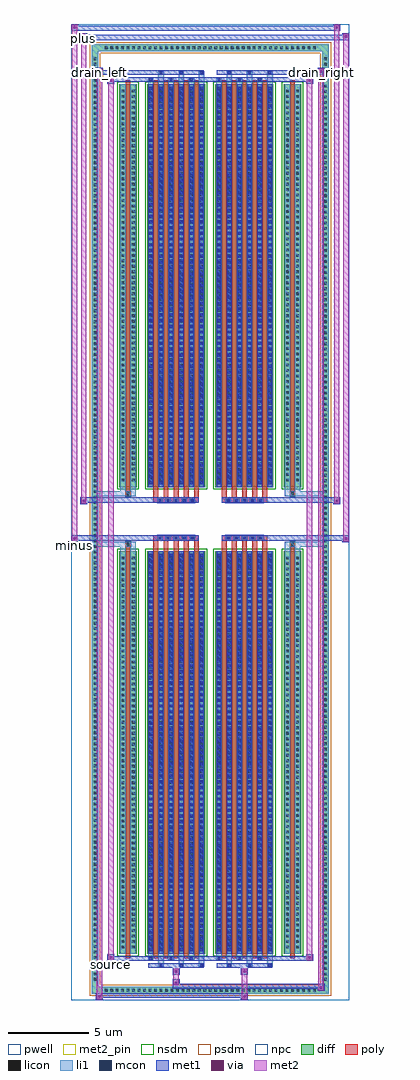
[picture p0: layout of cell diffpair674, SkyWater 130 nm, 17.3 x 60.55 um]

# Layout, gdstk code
import gdstk
lib = gdstk.Library(unit=1e-6, precision=5e-09)
def R(c, l, rs):  # rectangles x0, y0, x1, y1
    for r in rs: c.add(gdstk.rectangle(r[:2], r[2:], *l))
def A(c, l, x, y, w, h, nx, ny, dx, dy):  # array of equal rectangles
    R(c, l, [(x+i*dx, y+j*dy, x+i*dx+w, y+j*dy+h) for i in range(nx) for j in range(ny)])
def P(c, l, *ps):  # polygons
    for p in ps: c.add(gdstk.Polygon(p, *l))
pwell = (64, 44)
diff = (65, 20)
poly = (66, 20)
licon = (66, 44)
li1 = (67, 20)
mcon = (67, 44)
met1 = (68, 20)
via = (68, 44)
met2_pin = (69, 16)
met2 = (69, 20)
nsdm = (93, 44)
psdm = (94, 20)
npc = (95, 20)

diffpair674 = lib.new_cell('diffpair674')
R(diffpair674, pwell, [(-8.63,-29.84,8.63,30.71), (-5.95,-28.03,-0.01,-0.805), (0.01,-28.03,5.95,-0.805), (-5.95,0.805,-0.01,28.03), (0.01,0.805,5.95,28.03)])
A(diffpair674, diff, -6.665, -29.44, 0.41, 0.41, 39, 2, 0.34, 58.47)
A(diffpair674, diff, -7.36, -28.765, 0.41, 0.41, 1, 169, 0, 0.34)
A(diffpair674, diff, 6.95, -28.765, 0.41, 0.41, 1, 169, 0, 0.34)
R(diffpair674, diff, [(-6.665,-29.44,6.665,-29.03), (-7.36,-28.765,-6.95,28.765), (6.95,-28.765,7.36,28.765), (-5.64,-26.985,-4.56,-1.985), (-3.92,-26.985,-0.32,-1.985), (0.32,-26.985,3.92,-1.985), (4.56,-26.985,5.64,-1.985), (-5.64,1.985,-4.56,26.985), (-3.92,1.985,-0.32,26.985), (0.32,1.985,3.92,26.985), (4.56,1.985,5.64,26.985), (-6.665,29.03,6.665,29.44)])
P(diffpair674, diff, [(7.36,29.44),(-7.36,29.44),(-7.36,-29.03),(-6.95,-29.03),(-6.95,29.03),(6.95,29.03),(6.95,-29.03),(-6.95,-29.03),(-7.36,-29.03),(-7.36,-29.44),(7.36,-29.44)])
A(diffpair674, poly, -3.53, -27.235, 0.3, 25.5, 5, 2, 0.63, 28.97)
A(diffpair674, poly, 0.71, -27.235, 0.3, 25.5, 5, 2, 0.63, 28.97)
A(diffpair674, poly, -3.53, -1.735, 0.3, 0.4, 5, 2, 0.63, 3.07)
A(diffpair674, poly, 0.71, -1.735, 0.3, 0.4, 5, 2, 0.63, 3.07)
A(diffpair674, poly, -3.285, -1.335, 0.33, 0.33, 5, 2, 0.5, 2.34)
A(diffpair674, poly, 0.955, -1.335, 0.33, 0.33, 5, 2, 0.5, 2.34)
R(diffpair674, poly, [(-5.25,-27.235,-4.95,-1.735), (4.95,-27.235,5.25,-1.735), (-5.265,-1.735,-4.935,-1.405), (-5.265,-1.735,-4.935,-1.405), (4.935,-1.735,5.265,-1.405), (4.935,-1.735,5.265,-1.405), (-3.53,-1.335,-0.71,-1.005), (0.71,-1.335,3.53,-1.005), (-3.53,1.005,-0.71,1.335), (0.71,1.005,3.53,1.335), (-5.265,1.405,-4.935,1.735), (-5.265,1.405,-4.935,1.735), (4.935,1.405,5.265,1.735), (4.935,1.405,5.265,1.735), (-5.25,1.735,-4.95,27.235), (4.95,1.735,5.25,27.235)])
A(diffpair674, licon, -6.545, -29.32, 0.17, 0.17, 39, 2, 0.34, 58.47)
A(diffpair674, licon, -7.24, -28.645, 0.17, 0.17, 1, 169, 0, 0.34)
A(diffpair674, licon, 7.07, -28.645, 0.17, 0.17, 1, 169, 0, 0.34)
A(diffpair674, licon, -5.5, -26.64, 0.17, 0.17, 1, 72, 0, 0.34)
A(diffpair674, licon, -4.87, -26.64, 0.17, 0.17, 1, 72, 0, 0.34)
A(diffpair674, licon, -3.78, -26.64, 0.17, 0.17, 6, 72, 0.63, 0.34)
A(diffpair674, licon, 0.46, -26.64, 0.17, 0.17, 6, 72, 0.63, 0.34)
A(diffpair674, licon, 4.7, -26.64, 0.17, 0.17, 1, 72, 0, 0.34)
A(diffpair674, licon, 5.33, -26.64, 0.17, 0.17, 1, 72, 0, 0.34)
A(diffpair674, licon, -3.205, -1.255, 0.17, 0.17, 5, 2, 0.5, 2.34)
A(diffpair674, licon, 1.035, -1.255, 0.17, 0.17, 5, 2, 0.5, 2.34)
A(diffpair674, licon, -5.5, 2.33, 0.17, 0.17, 1, 72, 0, 0.34)
A(diffpair674, licon, -4.87, 2.33, 0.17, 0.17, 1, 72, 0, 0.34)
A(diffpair674, licon, -3.78, 2.33, 0.17, 0.17, 6, 72, 0.63, 0.34)
A(diffpair674, licon, 0.46, 2.33, 0.17, 0.17, 6, 72, 0.63, 0.34)
A(diffpair674, licon, 4.7, 2.33, 0.17, 0.17, 1, 72, 0, 0.34)
A(diffpair674, licon, 5.33, 2.33, 0.17, 0.17, 1, 72, 0, 0.34)
R(diffpair674, licon, [(-5.185,-1.655,-5.015,-1.485), (5.015,-1.655,5.185,-1.485), (-5.185,1.485,-5.015,1.655), (5.015,1.485,5.185,1.655)])
A(diffpair674, li1, -6.625, -29.4, 0.33, 0.33, 39, 2, 0.34, 58.47)
A(diffpair674, li1, -7.32, -28.725, 0.33, 0.33, 1, 169, 0, 0.34)
A(diffpair674, li1, 6.99, -28.725, 0.33, 0.33, 1, 169, 0, 0.34)
A(diffpair674, li1, -3.23, -27.79, 0.33, 0.805, 3, 2, 1.26, 54.775)
A(diffpair674, li1, -3.15, -27.79, 0.17, 0.17, 3, 2, 1.26, 55.41)
A(diffpair674, li1, 1.01, -27.79, 0.33, 0.805, 3, 2, 1.26, 54.775)
A(diffpair674, li1, 1.09, -27.79, 0.17, 0.17, 3, 2, 1.26, 55.41)
A(diffpair674, li1, -3.86, -27.36, 0.33, 0.375, 3, 2, 1.26, 54.345)
A(diffpair674, li1, -3.78, -27.36, 0.17, 0.17, 3, 2, 1.26, 54.55)
A(diffpair674, li1, 0.38, -27.36, 0.33, 0.375, 3, 2, 1.26, 54.345)
A(diffpair674, li1, 0.46, -27.36, 0.17, 0.17, 3, 2, 1.26, 54.55)
A(diffpair674, li1, -3.86, -26.985, 0.33, 25, 6, 2, 0.63, 28.97)
A(diffpair674, li1, 0.38, -26.985, 0.33, 25, 6, 2, 0.63, 28.97)
A(diffpair674, li1, -3.78, -26.81, 0.17, 0.17, 6, 69, 0.63, 0.36)
A(diffpair674, li1, -3.78, -26.81, 0.17, 24.65, 6, 2, 0.63, 28.97)
A(diffpair674, li1, 0.46, -26.81, 0.17, 0.17, 6, 69, 0.63, 0.36)
A(diffpair674, li1, 0.46, -26.81, 0.17, 24.65, 6, 2, 0.63, 28.97)
A(diffpair674, li1, -5.58, -26.72, 0.33, 0.33, 1, 72, 0, 0.34)
A(diffpair674, li1, -4.95, -26.72, 0.33, 0.33, 1, 72, 0, 0.34)
A(diffpair674, li1, -3.86, -26.72, 0.33, 0.33, 6, 72, 0.63, 0.34)
A(diffpair674, li1, 0.38, -26.72, 0.33, 0.33, 6, 72, 0.63, 0.34)
A(diffpair674, li1, 4.62, -26.72, 0.33, 0.33, 1, 72, 0, 0.34)
A(diffpair674, li1, 5.25, -26.72, 0.33, 0.33, 1, 72, 0, 0.34)
A(diffpair674, li1, -3.285, -1.335, 0.33, 0.33, 5, 2, 0.5, 2.34)
A(diffpair674, li1, 0.955, -1.335, 0.33, 0.33, 5, 2, 0.5, 2.34)
A(diffpair674, li1, -3.78, 2.16, 0.17, 0.17, 6, 69, 0.63, 0.36)
A(diffpair674, li1, 0.46, 2.16, 0.17, 0.17, 6, 69, 0.63, 0.36)
A(diffpair674, li1, -5.58, 2.25, 0.33, 0.33, 1, 72, 0, 0.34)
A(diffpair674, li1, -4.95, 2.25, 0.33, 0.33, 1, 72, 0, 0.34)
A(diffpair674, li1, -3.86, 2.25, 0.33, 0.33, 6, 72, 0.63, 0.34)
A(diffpair674, li1, 0.38, 2.25, 0.33, 0.33, 6, 72, 0.63, 0.34)
A(diffpair674, li1, 4.62, 2.25, 0.33, 0.33, 1, 72, 0, 0.34)
A(diffpair674, li1, 5.25, 2.25, 0.33, 0.33, 1, 72, 0, 0.34)
R(diffpair674, li1, [(-7.36,-29.44,-6.95,-29.03), (-7.36,-29.44,-6.95,-29.03), (-6.95,-29.44,6.95,-29.03), (6.95,-29.44,7.36,-29.03), (6.95,-29.44,7.36,-29.03), (-7.36,-29.03,-6.95,29.03), (6.95,-29.03,7.36,29.03), (-5.58,-26.985,-5.25,-1.985), (-4.95,-26.985,-4.62,-1.985), (4.62,-26.985,4.95,-1.985), (5.25,-26.985,5.58,-1.985), (-5.58,-1.985,-5.25,-1.405), (-4.95,-1.985,-4.62,-1.405), (4.62,-1.985,4.95,-1.405), (5.25,-1.985,5.58,-1.405), (-7.36,-1.735,-5.265,-1.405), (-5.58,-1.735,-5.265,-1.405), (-5.265,-1.735,-4.935,-1.405), (-4.935,-1.735,-4.62,-1.405), (4.62,-1.735,4.935,-1.405), (4.935,-1.735,5.265,-1.405), (4.935,-1.735,7.36,-1.405), (5.265,-1.735,5.58,-1.405), (-7.36,1.405,-5.265,1.735), (-5.58,1.405,-5.265,1.735), (-5.58,1.405,-5.25,1.985), (-5.265,1.405,-4.935,1.735), (-4.95,1.405,-4.62,1.985), (-4.935,1.405,-4.62,1.735), (4.62,1.405,4.935,1.735), (4.62,1.405,4.95,1.985), (4.935,1.405,5.265,1.735), (4.935,1.405,7.36,1.735), (5.25,1.405,5.58,1.985), (5.265,1.405,5.58,1.735), (-5.58,1.985,-5.25,26.985), (-4.95,1.985,-4.62,26.985), (4.62,1.985,4.95,26.985), (5.25,1.985,5.58,26.985), (-7.36,29.03,-6.95,29.44), (-7.36,29.03,-6.95,29.44), (-6.95,29.03,6.95,29.44), (6.95,29.03,7.36,29.44), (6.95,29.03,7.36,29.44)])
A(diffpair674, mcon, -3.15, -27.79, 0.17, 0.17, 3, 2, 1.26, 55.41)
A(diffpair674, mcon, 1.09, -27.79, 0.17, 0.17, 3, 2, 1.26, 55.41)
A(diffpair674, mcon, -3.78, -27.36, 0.17, 0.17, 3, 2, 1.26, 54.55)
A(diffpair674, mcon, 0.46, -27.36, 0.17, 0.17, 3, 2, 1.26, 54.55)
A(diffpair674, mcon, -3.78, -26.81, 0.17, 0.17, 6, 69, 0.63, 0.36)
A(diffpair674, mcon, 0.46, -26.81, 0.17, 0.17, 6, 69, 0.63, 0.36)
A(diffpair674, mcon, -3.205, -1.255, 0.17, 0.17, 5, 2, 0.5, 2.34)
A(diffpair674, mcon, 1.035, -1.255, 0.17, 0.17, 5, 2, 0.5, 2.34)
A(diffpair674, mcon, -3.78, 2.16, 0.17, 0.17, 6, 69, 0.63, 0.36)
A(diffpair674, mcon, 0.46, 2.16, 0.17, 0.17, 6, 69, 0.63, 0.36)
A(diffpair674, met1, -3.21, -27.85, 0.29, 0.29, 3, 2, 1.26, 55.41)
A(diffpair674, met1, 1.03, -27.85, 0.29, 0.29, 3, 2, 1.26, 55.41)
A(diffpair674, met1, -3.84, -27.42, 0.29, 0.29, 3, 2, 1.26, 54.55)
A(diffpair674, met1, 0.4, -27.42, 0.29, 0.29, 3, 2, 1.26, 54.55)
A(diffpair674, met1, -3.84, -26.985, 0.29, 25, 6, 2, 0.63, 28.97)
A(diffpair674, met1, 0.4, -26.985, 0.29, 25, 6, 2, 0.63, 28.97)
A(diffpair674, met1, -3.84, -26.87, 0.29, 0.29, 6, 69, 0.63, 0.36)
A(diffpair674, met1, 0.4, -26.87, 0.29, 0.29, 6, 69, 0.63, 0.36)
A(diffpair674, met1, -3.265, -1.315, 0.29, 0.29, 5, 2, 0.5, 2.34)
A(diffpair674, met1, 0.975, -1.315, 0.29, 0.29, 5, 2, 0.5, 2.34)
A(diffpair674, met1, -3.84, 2.1, 0.29, 0.29, 6, 69, 0.63, 0.36)
A(diffpair674, met1, 0.4, 2.1, 0.29, 0.29, 6, 69, 0.63, 0.36)
R(diffpair674, met1, [(-7.09,-29.84,-6.66,-29.41), (1.905,-29.84,2.335,-29.41), (-7.09,-29.7,2.335,-29.41), (6.66,-29.27,7.09,-28.84), (-2.335,-29.13,7.09,-28.84), (-2.335,-28.99,-1.905,-28.56), (-2.335,-28.28,-1.905,-27.85), (1.905,-28.28,2.335,-27.85), (-3.84,-27.85,-0.4,-27.56), (0.4,-27.85,3.84,-27.56), (-6.38,-27.42,-5.95,-26.99), (-6.38,-27.42,-3.84,-27.13), (-3.84,-27.42,-0.4,-27.13), (-0.4,-27.42,0.4,-27.13), (0.4,-27.42,3.84,-27.13), (3.84,-27.42,6.38,-27.13), (5.95,-27.42,6.38,-26.99), (-8.63,-1.435,-8.2,-1.005), (8.2,-1.435,8.63,-1.005), (-8.63,-1.335,-0.71,-1.005), (-3.53,-1.335,-0.71,-1.005), (0.71,-1.335,3.53,-1.005), (0.71,-1.335,8.63,-1.005), (-8.06,0.905,-7.63,1.335), (7.63,0.905,8.06,1.335), (-8.06,1.005,-3.53,1.335), (-3.53,1.005,-0.71,1.335), (0.71,1.005,3.53,1.335), (3.53,1.005,8.06,1.335), (-6.38,26.99,-5.95,27.42), (5.95,26.99,6.38,27.42), (-6.38,27.13,-3.84,27.42), (-3.84,27.13,-0.4,27.42), (-0.4,27.13,0.4,27.42), (0.4,27.13,3.84,27.42), (3.84,27.13,6.38,27.42), (-7.09,27.56,-6.66,27.99), (-7.09,27.56,-3.84,27.85), (-3.84,27.56,-0.4,27.85), (0.4,27.56,3.84,27.85), (3.84,27.56,7.09,27.85), (6.66,27.56,7.09,27.99), (-8.06,29.71,-7.63,30.14), (-8.06,29.71,-5.95,30.04), (-5.95,29.71,5.95,30.04), (5.95,29.71,8.63,30.04), (8.2,29.71,8.63,30.14), (-8.63,30.28,-8.2,30.71), (-8.63,30.28,-5.95,30.61), (-5.95,30.28,5.95,30.61), (5.95,30.28,8.06,30.61), (7.63,30.28,8.06,30.71)])
R(diffpair674, via, [(-6.95,-29.7,-6.8,-29.55), (2.045,-29.7,2.195,-29.55), (6.8,-29.13,6.95,-28.98), (-2.195,-28.85,-2.045,-28.7), (-2.195,-28.14,-2.045,-27.99), (2.045,-28.14,2.195,-27.99), (-6.24,-27.28,-6.09,-27.13), (6.09,-27.28,6.24,-27.13), (-8.49,-1.295,-8.34,-1.145), (8.34,-1.295,8.49,-1.145), (-7.92,1.045,-7.77,1.195), (7.77,1.045,7.92,1.195), (-6.24,27.13,-6.09,27.28), (6.09,27.13,6.24,27.28), (-6.95,27.7,-6.8,27.85), (6.8,27.7,6.95,27.85), (-7.92,29.85,-7.77,30), (8.34,29.85,8.49,30), (-8.49,30.42,-8.34,30.57), (7.77,30.42,7.92,30.57)])
R(diffpair674, met2_pin, [(-6.415,-27.87,-5.915,-27.37), (-8.665,-1.885,-8.165,-1.385), (-7.125,27.44,-6.625,27.94), (6.625,27.44,7.125,27.94), (-8.095,29.59,-7.595,30.09)])
R(diffpair674, met2, [(-7.04,-29.79,-6.71,-29.46), (-7.04,-29.79,-6.71,27.94), (1.955,-29.79,2.285,-29.46), (1.955,-29.46,2.285,-28.23), (6.71,-29.22,7.04,-28.89), (6.71,-29.22,7.04,27.94), (-2.285,-28.94,-1.955,-28.61), (-2.285,-28.61,-1.955,-28.23), (-2.285,-28.23,-1.955,-27.9), (1.955,-28.23,2.285,-27.9), (-6.33,-27.37,-6,-27.04), (-6.33,-27.37,-6,27.37), (6,-27.37,6.33,-27.04), (6,-27.37,6.33,27.37), (-8.58,-1.385,-8.25,-1.055), (-8.58,-1.385,-8.25,30.66), (8.25,-1.385,8.58,-1.055), (8.25,-1.385,8.58,30.09), (-8.01,0.955,-7.68,1.285), (-8.01,0.955,-7.68,30.09), (7.68,0.955,8.01,1.285), (7.68,0.955,8.01,30.66), (-6.33,27.04,-6,27.37), (6,27.04,6.33,27.37), (-7.04,27.61,-6.71,27.94), (6.71,27.61,7.04,27.94), (-8.01,29.76,-7.68,30.09), (8.25,29.76,8.58,30.09), (-8.58,30.33,-8.25,30.66), (7.68,30.33,8.01,30.66)])
P(diffpair674, met2, [(8.58,-1.385),(8.58,-1.385),(8.58,-1.055),(8.58,-1.055)],
  [(8.58,29.76),(8.58,29.76),(8.58,30.09),(8.58,30.09)],
  [(-8.25,-1.385),(-8.25,-1.385),(-8.25,-1.055),(-8.25,-1.055)],
  [(-8.25,30.33),(-8.25,30.33),(-8.25,30.66),(-8.25,30.66)],
  [(8.01,0.955),(8.01,0.955),(8.01,1.285),(8.01,1.285)],
  [(8.01,30.33),(8.01,30.33),(8.01,30.66),(8.01,30.66)],
  [(-7.68,0.955),(-7.68,0.955),(-7.68,1.285),(-7.68,1.285)],
  [(-7.68,29.76),(-7.68,29.76),(-7.68,30.09),(-7.68,30.09)],
  [(-6.71,-29.79),(-6.71,-29.79),(-6.71,-29.46),(-6.71,-29.46)],
  [(-6.71,27.61),(-6.71,27.61),(-6.71,27.94),(-6.71,27.94)],
  [(7.04,-29.22),(7.04,-29.22),(7.04,-28.89),(7.04,-28.89)],
  [(7.04,27.61),(7.04,27.61),(7.04,27.94),(7.04,27.94)],
  [(-6,-27.37),(-6,-27.37),(-6,-27.04),(-6,-27.04)],
  [(-6,27.04),(-6,27.04),(-6,27.37),(-6,27.37)],
  [(6.33,-27.37),(6.33,-27.37),(6.33,-27.04),(6.33,-27.04)],
  [(6.33,27.04),(6.33,27.04),(6.33,27.37),(6.33,27.37)])
R(diffpair674, nsdm, [(-5.77,-27.115,-4.43,-1.855), (-4.05,-27.115,-0.19,-1.855), (0.19,-27.115,4.05,-1.855), (4.43,-27.115,5.77,-1.855), (-5.77,1.855,-4.43,27.115), (-4.05,1.855,-0.19,27.115), (0.19,1.855,4.05,27.115), (4.43,1.855,5.77,27.115)])
P(diffpair674, psdm, [(7.49,29.57),(-7.49,29.57),(-7.49,-28.9),(-6.82,-28.9),(-6.82,28.9),(6.82,28.9),(6.82,-28.9),(-6.82,-28.9),(-7.49,-28.9),(-7.49,-29.57),(7.49,-29.57)])
A(diffpair674, npc, -3.305, -1.355, 0.37, 0.37, 5, 2, 0.5, 2.34)
A(diffpair674, npc, 0.935, -1.355, 0.37, 0.37, 5, 2, 0.5, 2.34)
R(diffpair674, npc, [(-5.285,-1.755,-4.915,-1.385), (4.915,-1.755,5.285,-1.385), (-3.305,-1.355,-2.435,-0.985), (-3.305,-1.355,-2.435,-0.985), (-2.805,-1.355,-1.935,-0.985), (-2.805,-1.355,-1.935,-0.985), (-2.305,-1.355,-1.435,-0.985), (-2.305,-1.355,-1.435,-0.985), (-1.805,-1.355,-0.935,-0.985), (-1.805,-1.355,-0.935,-0.985), (0.935,-1.355,1.805,-0.985), (0.935,-1.355,1.805,-0.985), (1.435,-1.355,2.305,-0.985), (1.435,-1.355,2.305,-0.985), (1.935,-1.355,2.805,-0.985), (1.935,-1.355,2.805,-0.985), (2.435,-1.355,3.305,-0.985), (2.435,-1.355,3.305,-0.985), (-3.305,0.985,-2.435,1.355), (-3.305,0.985,-2.435,1.355), (-2.805,0.985,-1.935,1.355), (-2.805,0.985,-1.935,1.355), (-2.305,0.985,-1.435,1.355), (-2.305,0.985,-1.435,1.355), (-1.805,0.985,-0.935,1.355), (-1.805,0.985,-0.935,1.355), (0.935,0.985,1.805,1.355), (0.935,0.985,1.805,1.355), (1.435,0.985,2.305,1.355), (1.435,0.985,2.305,1.355), (1.935,0.985,2.805,1.355), (1.935,0.985,2.805,1.355), (2.435,0.985,3.305,1.355), (2.435,0.985,3.305,1.355), (-5.285,1.385,-4.915,1.755), (4.915,1.385,5.285,1.755)])
diffpair674.add(gdstk.Label('minus', (-8.415,-1.635), layer=69, texttype=5))
diffpair674.add(gdstk.Label('drain_right', (6.875,27.69), layer=69, texttype=5))
diffpair674.add(gdstk.Label('drain_left', (-6.875,27.69), layer=69, texttype=5))
diffpair674.add(gdstk.Label('source', (-6.165,-27.62), layer=69, texttype=5))
diffpair674.add(gdstk.Label('plus', (-7.845,29.84), layer=69, texttype=5))

lib.write_gds('diffpair674.gds')
